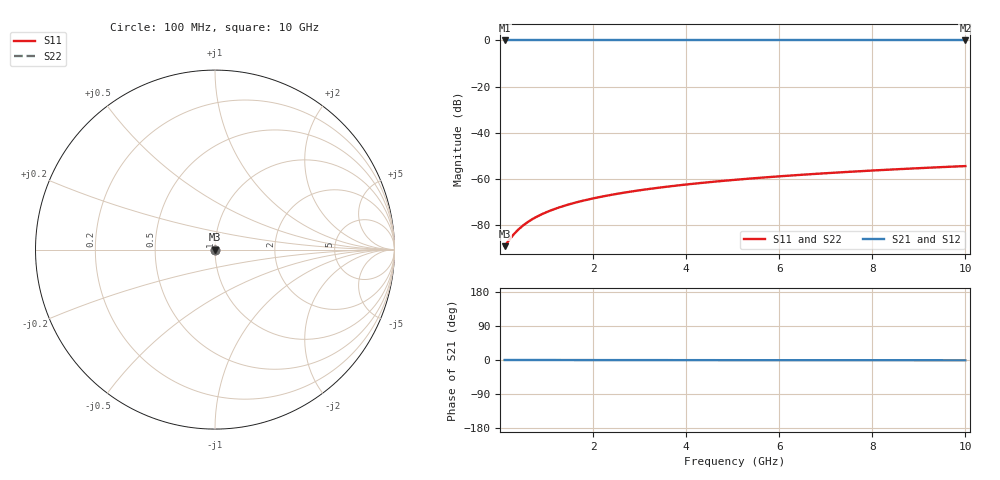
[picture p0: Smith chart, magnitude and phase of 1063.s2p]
# Hz S RI R 50.00
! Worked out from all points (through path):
!   100 points, 100 MHz to 10 GHz, reference 50 ohm
!   highest |S21| = 0.00 dB at 100 MHz (marker M1); lowest = 0.0 dB at 10 GHz (marker M2)
!   lowest |S11| = -89.3 dB at 100 MHz (marker M3), VSWR 1.00, Z = 50 - j0.00185 ohm
!   |S11| at or under -10 dB: start of sweep to end of sweep
!   |S22| runs from -89.3 to -54.5 dB; largest |S21 - S12| = 0
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1e8  2.89e-05 -1.85e-05  1 -0.000156  1 -0.000156  2.89e-05 -1.85e-05
5e8  2.9e-05 -9.27e-05  1 -0.000781  1 -0.000781  2.9e-05 -9.27e-05
7e8  2.9e-05 -0.00013  1 -0.00109  1 -0.00109  2.9e-05 -0.00013
8e8  2.89e-05 -0.000148  1 -0.00125  1 -0.00125  2.89e-05 -0.000148
9e8  2.89e-05 -0.000167  1 -0.00141  1 -0.00141  2.89e-05 -0.000167
1.1e9  2.87e-05 -0.000204  1 -0.00172  1 -0.00172  2.87e-05 -0.000204
1.2e9  2.86e-05 -0.000223  1 -0.00188  1 -0.00188  2.86e-05 -0.000223
1.4e9  2.84e-05 -0.00026  1 -0.00219  1 -0.00219  2.84e-05 -0.00026
1.6e9  2.82e-05 -0.000297  1 -0.0025  1 -0.0025  2.82e-05 -0.000297
1.8e9  2.8e-05 -0.000334  1 -0.00281  1 -0.00281  2.8e-05 -0.000334
2.1e9  2.75e-05 -0.00039  1 -0.00328  1 -0.00328  2.75e-05 -0.00039
2.5e9  2.68e-05 -0.000465  1 -0.00391  1 -0.00391  2.68e-05 -0.000465
2.9e9  2.6e-05 -0.00054  1 -0.00454  1 -0.00454  2.6e-05 -0.00054
3.4e9  2.49e-05 -0.000634  1 -0.00532  1 -0.00532  2.49e-05 -0.000634
3.8e9  2.39e-05 -0.000709  0.9999 -0.00595  0.9999 -0.00595  2.39e-05 -0.000709
4.2e9  2.28e-05 -0.000784  0.9999 -0.00658  0.9999 -0.00658  2.28e-05 -0.000784
5.1e9  1.99e-05 -0.000954  0.9999 -0.00799  0.9999 -0.00799  1.99e-05 -0.000954
5.9e9  1.7e-05 -0.00111  0.9999 -0.00926  0.9999 -0.00926  1.7e-05 -0.00111
6.7e9  1.36e-05 -0.00126  0.9999 -0.0105  0.9999 -0.0105  1.36e-05 -0.00126
7.5e9  9.92e-06 -0.00141  0.9999 -0.0118  0.9999 -0.0118  9.92e-06 -0.00141
8.4e9  5.27e-06 -0.00158  0.9999 -0.0132  0.9999 -0.0132  5.27e-06 -0.00158
1e10  -4.18e-06 -0.00188  0.9998 -0.0158  0.9998 -0.0158  -4.18e-06 -0.00188
